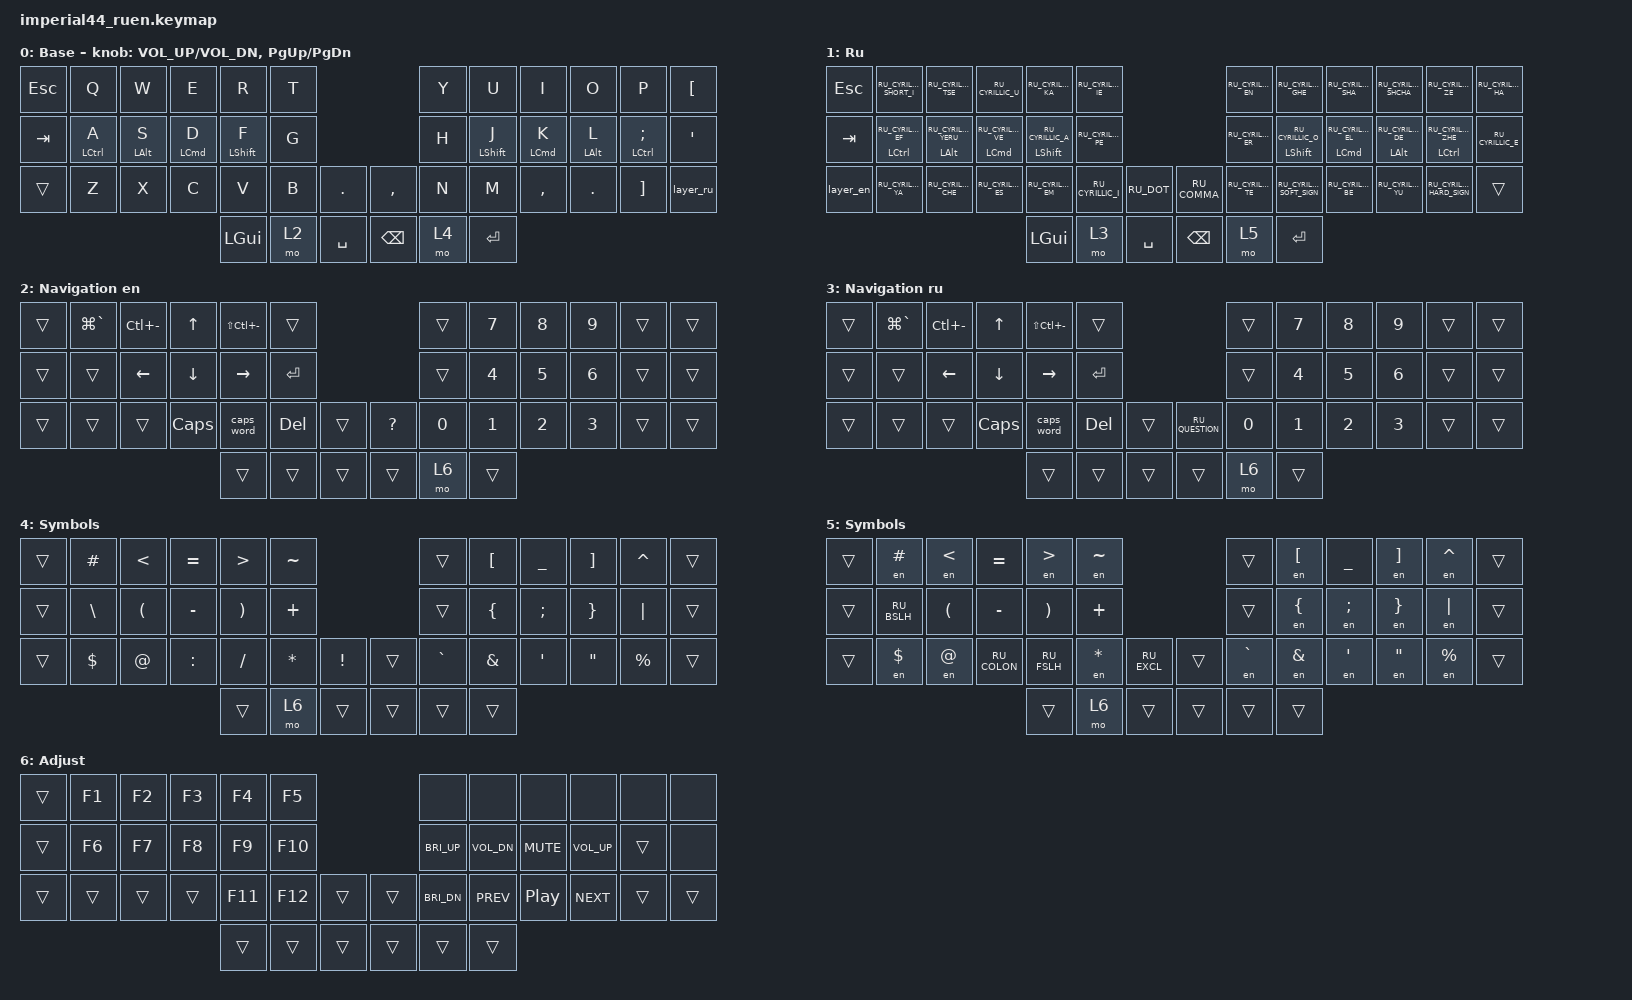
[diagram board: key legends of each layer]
#include "keys_ru.h"
#include <behaviors.dtsi>
#include <dt-bindings/zmk/keys.h>

/ {
    combos { compatible = "zmk,combos"; };

    macros {
        to_ru: to_ru {
            compatible = "zmk,behavior-macro";
            #binding-cells = <0>;
            bindings = <&kp LC(N9)>;
            label = "TO_RU";
            wait-ms = <0>;
            tap-ms = <30>;
        };

        to_en: to_en {
            compatible = "zmk,behavior-macro";
            #binding-cells = <0>;
            bindings = <&kp LC(N8)>;
            label = "TO_EN";
            wait-ms = <0>;
            tap-ms = <30>;
        };

        layer_en: layer_en {
            compatible = "zmk,behavior-macro";
            #binding-cells = <0>;
            bindings = <&to 0 &to_en>;
            label = "LAYER_EN";
            wait-ms = <0>;
            tap-ms = <30>;
        };

        layer_ru: layer_ru {
            compatible = "zmk,behavior-macro";
            #binding-cells = <0>;
            bindings = <&to 1 &to_ru>;
            label = "LAYER_RU";
            tap-ms = <30>;
            wait-ms = <0>;
        };

        en: en {
            compatible = "zmk,behavior-macro-one-param";
            #binding-cells = <1>;
            bindings =
                <&to_en>,
                <&macro_press>,
                <&macro_param_1to1 &kp MACRO_PLACEHOLDER>,
                <&macro_pause_for_release>,
                <&macro_release>,
                <&macro_param_1to1 &kp MACRO_PLACEHOLDER>,
                <&macro_tap>,
                <&to_ru>;

            label = "EN";
            wait-ms = <0>;
            tap-ms = <30>;
        };
    };

    behaviors {
        hrm: hrm {
            compatible = "zmk,behavior-hold-tap";
            label = "HRM";
            bindings = <&kp>, <&kp>;

            #binding-cells = <2>;
            tapping-term-ms = <200>;
            flavor = "balanced";
        };
    };

    keymap {
        compatible = "zmk,keymap";

        en {
            bindings = <
&kp ESC  &kp Q         &kp W            &kp E                &kp R              &kp T                              &kp Y  &kp U              &kp I                &kp O            &kp P                   &kp LEFT_BRACKET
&kp TAB  &hrm LCTRL A  &hrm LEFT_ALT S  &hrm LEFT_COMMAND D  &hrm LEFT_SHIFT F  &kp G                              &kp H  &hrm LEFT_SHIFT J  &hrm LEFT_COMMAND K  &hrm LEFT_ALT L  &hrm LEFT_CONTROL SEMI  &kp SINGLE_QUOTE
&trans   &kp Z         &kp X            &kp C                &kp V              &kp B  &kp DOT      &kp COMMA      &kp N  &kp M              &kp COMMA            &kp DOT          &kp RIGHT_BRACKET       &layer_ru
                                                             &kp LEFT_GUI       &mo 2  &kp SPACE    &kp BACKSPACE  &mo 4  &kp ENTER
            >;

            display-name = "Base";
            sensor-bindings =
                <&inc_dec_kp C_VOL_UP C_VOL_DN>,
                <&inc_dec_kp PG_UP PG_DN>;
        };

        ru {
            display-name = "Ru";
            bindings = <
&kp ESC    &kp RU_CYRILLIC_SHORT_I           &kp RU_CYRILLIC_TSE             &kp RU_CYRILLIC_U                 &kp RU_CYRILLIC_KA             &kp RU_CYRILLIC_IE                               &kp RU_CYRILLIC_EN  &kp RU_CYRILLIC_GHE            &kp RU_CYRILLIC_SHA               &kp RU_CYRILLIC_SHCHA         &kp RU_CYRILLIC_ZE                 &kp RU_CYRILLIC_HA
&kp TAB    &hrm LEFT_CONTROL RU_CYRILLIC_EF  &hrm LEFT_ALT RU_CYRILLIC_YERU  &hrm LEFT_COMMAND RU_CYRILLIC_VE  &hrm LEFT_SHIFT RU_CYRILLIC_A  &kp RU_CYRILLIC_PE                               &kp RU_CYRILLIC_ER  &hrm LEFT_SHIFT RU_CYRILLIC_O  &hrm LEFT_COMMAND RU_CYRILLIC_EL  &hrm LEFT_ALT RU_CYRILLIC_DE  &hrm LEFT_CONTROL RU_CYRILLIC_ZHE  &kp RU_CYRILLIC_E
&layer_en  &kp RU_CYRILLIC_YA                &kp RU_CYRILLIC_CHE             &kp RU_CYRILLIC_ES                &kp RU_CYRILLIC_EM             &kp RU_CYRILLIC_I   &kp RU_DOT    &kp RU_COMMA   &kp RU_CYRILLIC_TE  &kp RU_CYRILLIC_SOFT_SIGN      &kp RU_CYRILLIC_BE                &kp RU_CYRILLIC_YU            &kp RU_CYRILLIC_HARD_SIGN          &trans
                                                                                                               &kp LEFT_GUI                   &mo 3               &kp SPACE     &kp BACKSPACE  &mo 5               &kp ENTER
            >;
        };

        nav_en {
            bindings = <
&trans  &kp LG(GRAVE)  &kp LC(MINUS)  &kp UP    &kp LS(LC(MINUS))  &trans                           &trans        &kp N7  &kp N8  &kp N9  &trans  &trans
&trans  &trans         &kp LEFT       &kp DOWN  &kp RIGHT          &kp RET                          &trans        &kp N4  &kp N5  &kp N6  &trans  &trans
&trans  &trans         &trans         &kp CAPS  &caps_word         &kp DEL  &trans    &kp QUESTION  &kp NUMBER_0  &kp N1  &kp N2  &kp N3  &trans  &trans
                                                &trans             &trans   &trans    &trans        &mo 6         &trans
            >;

            display-name = "Navigation en";
        };

        nav_ru {
            display-name = "Navigation ru";
            bindings = <
&trans  &kp LG(GRAVE)  &kp LC(MINUS)  &kp UP    &kp LS(LC(MINUS))  &trans                              &trans        &kp N7  &kp N8  &kp N9  &trans  &trans
&trans  &trans         &kp LEFT       &kp DOWN  &kp RIGHT          &kp RET                             &trans        &kp N4  &kp N5  &kp N6  &trans  &trans
&trans  &trans         &trans         &kp CAPS  &caps_word         &kp DEL  &trans    &kp RU_QUESTION  &kp NUMBER_0  &kp N1  &kp N2  &kp N3  &trans  &trans
                                                &trans             &trans   &trans    &trans           &mo 6         &trans
            >;
        };

        sym_en {
            bindings = <
&trans  &kp HASH    &kp LT    &kp EQUAL  &kp GT    &kp TILDE                      &trans     &kp LBKT       &kp UNDER         &kp RBKT           &kp CARET    &trans
&trans  &kp BSLH    &kp LPAR  &kp MINUS  &kp RPAR  &kp PLUS                       &trans     &kp LBRC       &kp SEMI          &kp RBRC           &kp PIPE     &trans
&trans  &kp DOLLAR  &kp AT    &kp COLON  &kp FSLH  &kp STAR   &kp EXCL    &trans  &kp GRAVE  &kp AMPERSAND  &kp SINGLE_QUOTE  &kp DOUBLE_QUOTES  &kp PERCENT  &trans
                                         &trans    &mo 6      &trans      &trans  &trans     &trans
            >;

            display-name = "Symbols";
        };

        sym_ru {
            display-name = "Symbols";
            bindings = <
&trans  &en HASH     &en LT    &kp EQUAL     &en GT       &en TILDE                         &trans     &en LBKT  &kp UNDER         &en RBKT           &en CARET    &trans
&trans  &kp RU_BSLH  &kp LPAR  &kp MINUS     &kp RPAR     &kp PLUS                          &trans     &en LBRC  &en SEMI          &en RBRC           &en PIPE     &trans
&trans  &en DOLLAR   &en AT    &kp RU_COLON  &kp RU_FSLH  &en STAR   &kp RU_EXCL    &trans  &en GRAVE  &en AMPS  &en SINGLE_QUOTE  &en DOUBLE_QUOTES  &en PERCENT  &trans
                                             &trans       &mo 6      &trans         &trans  &trans     &trans
            >;
        };

        adj {
            bindings = <
&trans  &kp F1  &kp F2  &kp F3  &kp F4   &kp F5                     &none         &none         &none             &none         &none   &none
&trans  &kp F6  &kp F7  &kp F8  &kp F9   &kp F10                    &kp C_BRI_UP  &kp C_VOL_DN  &kp K_MUTE        &kp C_VOL_UP  &trans  &none
&trans  &trans  &trans  &trans  &kp F11  &kp F12  &trans    &trans  &kp C_BRI_DN  &kp C_PREV    &kp C_PLAY_PAUSE  &kp C_NEXT    &trans  &trans
                                &trans   &trans   &trans    &trans  &trans        &trans
            >;

            display-name = "Adjust";
        };
    };
};
